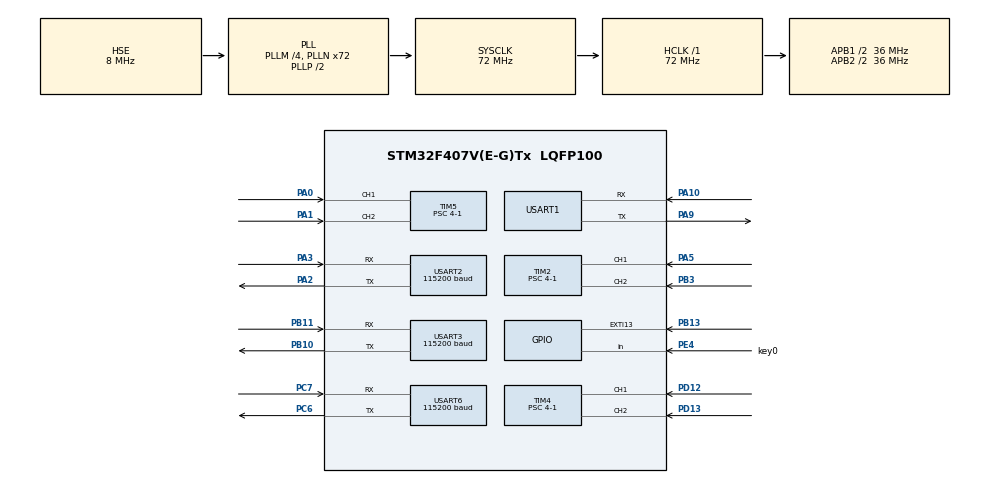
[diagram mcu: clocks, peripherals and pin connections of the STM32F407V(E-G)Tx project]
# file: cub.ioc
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Dma.Request0=USART1_RX
Dma.USART1_RX.0.Direction=DMA_PERIPH_TO_MEMORY
Dma.USART1_RX.0.FIFOMode=DMA_FIFOMODE_DISABLE
Dma.USART1_RX.0.Instance=DMA2_Stream5
Dma.USART1_RX.0.MemDataAlignment=DMA_MDATAALIGN_BYTE
Dma.USART1_RX.0.MemInc=DMA_MINC_ENABLE
Dma.USART1_RX.0.Mode=DMA_NORMAL
Dma.USART1_RX.0.PeriphDataAlignment=DMA_PDATAALIGN_BYTE
Dma.USART1_RX.0.PeriphInc=DMA_PINC_DISABLE
Dma.USART1_RX.0.Priority=DMA_PRIORITY_VERY_HIGH
Mcu.Family=STM32F4
Mcu.Name=STM32F407V(E-G)Tx
Mcu.Package=LQFP100
NVIC.DMA2_Stream5_IRQn=true\:0\:0\:false\:false\:true\:false\:true
NVIC.EXTI15_10_IRQn=true\:0\:0\:false\:false\:true\:true\:true
NVIC.PriorityGroup=NVIC_PRIORITYGROUP_4
NVIC.TIM6_DAC_IRQn=true\:1\:0\:true\:false\:true\:true\:true
NVIC.USART1_IRQn=true\:0\:0\:false\:false\:true\:true\:true
PA0-WKUP.Signal=S_TIM5_CH1
PA1.Signal=S_TIM5_CH2
PA10.Mode=Asynchronous
PA10.Signal=USART1_RX
PA2.Mode=Asynchronous
PA2.Signal=USART2_TX
PA3.Mode=Asynchronous
PA3.Signal=USART2_RX
PA5.Signal=S_TIM2_CH1_ETR
PA9.Mode=Asynchronous
PA9.Signal=USART1_TX
PB10.Mode=Asynchronous
PB10.Signal=USART3_TX
PB11.Mode=Asynchronous
PB11.Signal=USART3_RX
PB13.GPIO_ModeDefaultEXTI=GPIO_MODE_IT_RISING
PB13.GPIO_PuPd=GPIO_PULLUP
PB13.Signal=GPXTI13
PB3.Signal=S_TIM2_CH2
PC6.Mode=Asynchronous
PC6.Signal=USART6_TX
PC7.Mode=Asynchronous
PC7.Signal=USART6_RX
PD12.GPIO_PuPd=GPIO_NOPULL
PD12.Signal=S_TIM4_CH1
PD13.GPIO_PuPd=GPIO_NOPULL
PD13.Signal=S_TIM4_CH2
PE4.GPIO_Label=key0
PE4.GPIO_PuPd=GPIO_PULLUP
PE4.Signal=GPIO_Input
PH0-OSC_IN.Mode=HSE-External-Oscillator
PH0-OSC_IN.Signal=RCC_OSC_IN
PH1-OSC_OUT.Mode=HSE-External-Oscillator
PH1-OSC_OUT.Signal=RCC_OSC_OUT
ProjectManager.HeapSize=0x200
ProjectManager.StackSize=0x400
ProjectManager.TargetToolchain=MDK-ARM V4
RCC.48MHZClocksFreq_Value=36000000
RCC.AHBFreq_Value=72000000
RCC.APB1CLKDivider=RCC_HCLK_DIV2
RCC.APB1Freq_Value=36000000
RCC.APB1TimFreq_Value=72000000
RCC.APB2CLKDivider=RCC_HCLK_DIV2
RCC.APB2Freq_Value=36000000
RCC.APB2TimFreq_Value=72000000
RCC.CortexFreq_Value=72000000
RCC.HCLKFreq_Value=72000000
RCC.HSE_VALUE=8000000
RCC.HSI_VALUE=16000000
RCC.LSE_VALUE=32768
RCC.PLLM=4
RCC.PLLN=72
RCC.PLLSourceVirtual=RCC_PLLSOURCE_HSE
RCC.SYSCLKFreq_VALUE=72000000
RCC.SYSCLKSource=RCC_SYSCLKSOURCE_PLLCLK
RCC.VCOOutputFreq_Value=144000000
SH.S_TIM2_CH1_ETR.0=TIM2_CH1,Encoder_Interface
SH.S_TIM2_CH2.0=TIM2_CH2,Encoder_Interface
SH.S_TIM4_CH1.0=TIM4_CH1,Encoder_Interface
SH.S_TIM4_CH2.0=TIM4_CH2,Encoder_Interface
SH.S_TIM5_CH1.0=TIM5_CH1,Encoder_Interface
SH.S_TIM5_CH2.0=TIM5_CH2,Encoder_Interface
TIM2.AutoReloadPreload=TIM_AUTORELOAD_PRELOAD_ENABLE
TIM2.EncoderMode=TIM_ENCODERMODE_TI12
TIM2.IC1Filter=15
TIM2.IC2Filter=15
TIM2.Period=0XFFFF
TIM2.Prescaler=4-1
TIM4.AutoReloadPreload=TIM_AUTORELOAD_PRELOAD_ENABLE
TIM4.EncoderMode=TIM_ENCODERMODE_TI12
TIM4.IC1Filter=15
TIM4.IC2Filter=15
TIM4.Period=0xFFFF
TIM4.Prescaler=4-1
TIM5.AutoReloadPreload=TIM_AUTORELOAD_PRELOAD_ENABLE
TIM5.EncoderMode=TIM_ENCODERMODE_TI12
TIM5.IC1Filter=15
TIM5.IC2Filter=15
TIM5.Period=0XFFFF
TIM5.Prescaler=4-1
TIM6.AutoReloadPreload=TIM_AUTORELOAD_PRELOAD_ENABLE
TIM6.Period=1000-1
TIM6.Prescaler=72-1
USART1.VirtualMode=VM_ASYNC
USART2.BaudRate=115200
USART2.VirtualMode=VM_ASYNC
USART3.BaudRate=115200
USART3.VirtualMode=VM_ASYNC
USART6.BaudRate=115200
USART6.VirtualMode=VM_ASYNC
VP_TIM6_VS_ClockSourceINT.Mode=Enable_Timer
board=custom

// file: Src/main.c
/* USER CODE BEGIN Header */
/**
  ******************************************************************************
  * @file           : main.c
  * @brief          : Main program body
  ******************************************************************************
  * @attention
  *
  * <h2><center>&copy; Copyright (c) 2021 STMicroelectronics.
  * All rights reserved.</center></h2>
  *
  * This software component is licensed by ST under BSD 3-Clause license,
  * the "License"; You may not use this file except in compliance with the
  * License. You may obtain a copy of the License at:
  *                        opensource.org/licenses/BSD-3-Clause
  *
  ******************************************************************************
  */
/* USER CODE END Header */

#include "main.h"
#include "dma.h"
#include "tim.h"
#include "usart.h"
#include "gpio.h"

/* USER CODE BEGIN Includes */
#include <stdlib.h>
#include "send.h"
#include "Motor.h"
#include "encode.h"
#include "string.h"
#include "model.h"
#include "PID.h"
/* USER CODE END Includes */

/* USER CODE BEGIN PTD */
//typedef enum {FALSE = 0,TRUE = 1} bool;
/* USER CODE END PTD */

/* USER CODE BEGIN PD */
#define Press_begin HAL_GPIO_ReadPin(GPIOE,GPIO_PIN_4)==1 // PE4 is Low  beginning
#define code_init_value 0x7Fff
/* USER CODE END PD */

/* USER CODE BEGIN PV */
	uint32_t cnt_num = 0;
	uint32_t cnt_time  = 0;
/* USER CODE END PV */

void SystemClock_Config(void);

int main(void)
{

  /* MCU Configuration--------------------------------------------------------*/

  /* Reset of all peripherals, Initializes the Flash interface and the Systick. */
  HAL_Init();

  /* Configure the system clock */
  SystemClock_Config();

  /* Initialize all configured peripherals */
  MX_GPIO_Init();
  MX_DMA_Init();
  MX_USART1_UART_Init();
  MX_TIM4_Init();
  MX_TIM2_Init();
  MX_TIM6_Init();
  MX_TIM5_Init();
  MX_USART2_UART_Init();
  MX_USART3_UART_Init();
  MX_USART6_UART_Init();
  /* USER CODE BEGIN 2 */
	// Motor_Fwd(Motor_1);
	// while(Press_begin); // begining
	/*        open Encode       */
		__HAL_UART_ENABLE_IT(&huart1, UART_IT_IDLE); //Private define
	HAL_UART_Receive_DMA(&huart1,rx_buffer,BUFFER_SIZE);//Private define

	__HAL_TIM_SET_COUNTER(Motor_1.htim_encode,code_init_value); //reset value to oxff
	HAL_TIM_Encoder_Start(Motor_1.htim_encode, TIM_CHANNEL_ALL);// Open Channel 4
	__HAL_TIM_SET_COUNTER(Motor_2.htim_encode,code_init_value); //reset value to oxff
	HAL_TIM_Encoder_Start(Motor_2.htim_encode, TIM_CHANNEL_ALL);// Open Channel 4
	__HAL_TIM_SET_COUNTER(Motor_3.htim_encode,code_init_value); //reset value to oxff
	HAL_TIM_Encoder_Start(Motor_3.htim_encode, TIM_CHANNEL_ALL);// Open Channel 4

	HAL_TIM_Base_Start_IT(&htim6); // open time6

	init_pid(&Motor_1.pid,0.3,0.1,0);
	init_pid(&Motor_2.pid,0.3,0.1,0);
	init_pid(&Motor_3.pid,0.3,0.1,0);
	// conf - plus and min_speed  0-200 ,200-400 ,400-1000 x =plus y = speed
	// Motor_1.pid(0.5,0.1,0);
	  /* USER CODE BEGIN WHILE */
  /* USER CODE END 2 */

  /* Infinite loop */
  /* USER CODE BEGIN WHILE */
  /* USER CODE END 2 */

  /* Infinite loop */
  /* USER CODE BEGIN WHILE */
  /* USER CODE END 2 */

  /* Infinite loop */
  /* USER CODE BEGIN WHILE */
  /* USER CODE END 2 */

  /* Infinite loop */
  /* USER CODE BEGIN WHILE */

  /* USER CODE END 2 */

  /* Infinite loop */
  while (1)
  {		//HAL_UART_Transmit(&huart1,&recv_end_flag,1,2000);
		// run

		if(recv_end_flag)
		{
			 recv_end_flag = 0;

			 // Motor_2.puls = 200;
			 // Motor_control(&Motor_2,Motor_2.puls);
			 Motor_2.min_speed_pre  = 0.5 * arg_max_to_min;
			 // Hanlde_receive(rx_buffer,rx_len,&robot,&Motor_1,&Motor_2,&Motor_3); // 处理上位机信息 包括上位机读取速度，写入速度，读取异常状态
			 memset(rx_buffer,0,rx_len);
			 HAL_UART_Receive_DMA(&huart1,rx_buffer,BUFFER_SIZE);
		}
    /* USER CODE END WHILE */

  }
}

void SystemClock_Config(void)
{
  RCC_OscInitTypeDef RCC_OscInitStruct = {0};
  RCC_ClkInitTypeDef RCC_ClkInitStruct = {0};

  /** Configure the main internal regulator output voltage
  */
  __HAL_RCC_PWR_CLK_ENABLE();
  __HAL_PWR_VOLTAGESCALING_CONFIG(PWR_REGULATOR_VOLTAGE_SCALE1);
  /** Initializes the CPU, AHB and APB busses clocks
  */
  RCC_OscInitStruct.OscillatorType = RCC_OSCILLATORTYPE_HSE;
  RCC_OscInitStruct.HSEState = RCC_HSE_ON;
  RCC_OscInitStruct.PLL.PLLState = RCC_PLL_ON;
  RCC_OscInitStruct.PLL.PLLSource = RCC_PLLSOURCE_HSE;
  RCC_OscInitStruct.PLL.PLLM = 4;
  RCC_OscInitStruct.PLL.PLLN = 72;
  RCC_OscInitStruct.PLL.PLLP = RCC_PLLP_DIV2;
  RCC_OscInitStruct.PLL.PLLQ = 4;
  if (HAL_RCC_OscConfig(&RCC_OscInitStruct) != HAL_OK)
  {
    Error_Handler();
  }
  /** Initializes the CPU, AHB and APB busses clocks
  */
  RCC_ClkInitStruct.ClockType = RCC_CLOCKTYPE_HCLK|RCC_CLOCKTYPE_SYSCLK
                              |RCC_CLOCKTYPE_PCLK1|RCC_CLOCKTYPE_PCLK2;
  RCC_ClkInitStruct.SYSCLKSource = RCC_SYSCLKSOURCE_PLLCLK;
  RCC_ClkInitStruct.AHBCLKDivider = RCC_SYSCLK_DIV1;
  RCC_ClkInitStruct.APB1CLKDivider = RCC_HCLK_DIV2;
  RCC_ClkInitStruct.APB2CLKDivider = RCC_HCLK_DIV2;

  if (HAL_RCC_ClockConfig(&RCC_ClkInitStruct, FLASH_LATENCY_2) != HAL_OK)
  {
    Error_Handler();
  }
}

/* USER CODE BEGIN 4 */
uint32_t abs_uint32_t(uint32_t value1,uint32_t value2)
{
	if(value1 > value2)
		return value1 - value2;
	else
		return value2 - value1;
}
void HAL_GPIO_EXTI_Callback(uint16_t GPIO_Pin) // 外部中断
{
		uint32_t value ;
		uint8_t  tx = 0;
		// uint32_t temp_value = code_init_value;

   if(GPIO_Pin == GPIO_PIN_13)
   {
			// Usart_Unin32(&huart1,(uint32_t)tx );
		 //uint32_t temp_value = (uint32_t)(__HAL_TIM_GET_COUNTER(Motor_2.htim_encode));
		 //Usart_Unin32(&huart1,temp_value);
		 //__HAL_TIM_SET_COUNTER(Motor_2.htim_encode,0);
			/*temp_value = (uint32_t)(__HAL_TIM_GET_COUNTER(&htim2));
		 //Usart_Unin32(&huart1,temp_value);
		  value = abs(code_init_value-temp_value);
			cnt_num += value;
		  Usart_Unin32(&huart1,value);
		  __HAL_TIM_SET_COUNTER(&htim2,code_init_value); //重置编码器值*/
		 // Usart_Unin32(&huart1,cnt_num);

   }
}
void HAL_TIM_PeriodElapsedCallback(TIM_HandleTypeDef *htim) //定时器
{
	/*           定时器目前设为10ms一次传输数据                   */
		float error1 = Motor_1.min_speed_pre - Motor_1.min_speed_real;
		float error2 = Motor_2.min_speed_pre - Motor_2.min_speed_real;
		float error3 = Motor_3.min_speed_pre - Motor_3.min_speed_real;
	  if(htim->Instance == TIM6)
   {
		 Encode_Motor(&Motor_1,code_init_value);
		 Encode_Motor(&Motor_2,code_init_value);
		 Encode_Motor(&Motor_3,code_init_value);
		 // 传输
		 cnt_time++;
   }
		 // pid control
	 if(abs(error1) > 3)
		{
				Motor_1.set_speed += pid_regultion(&Motor_1.pid,error1);
				Motor_1.puls = speed_to_puls(Motor_1.set_speed);
				Motor_control(&Motor_1,Motor_1.puls);
		}
	 if(abs(error2) > 3)
		{
				Motor_2.set_speed += pid_regultion(&Motor_2.pid,error2);
				if(Motor_2.set_speed > 144) Motor_2.set_speed = 144;
				Motor_2.puls = speed_to_puls(Motor_2.set_speed);
				Motor_control(&Motor_2,Motor_2.puls);

		}
	 if(abs(error3) > 3)
		{
				Motor_3.set_speed += pid_regultion(&Motor_3.pid,error3);
				Motor_3.puls = speed_to_puls(Motor_3.set_speed);
				Motor_control(&Motor_3,Motor_3.puls);
		}
}
/* USER CODE END 4 */

void Error_Handler(void)
{
}

/************************ (C) COPYRIGHT STMicroelectronics *****END OF FILE****/
